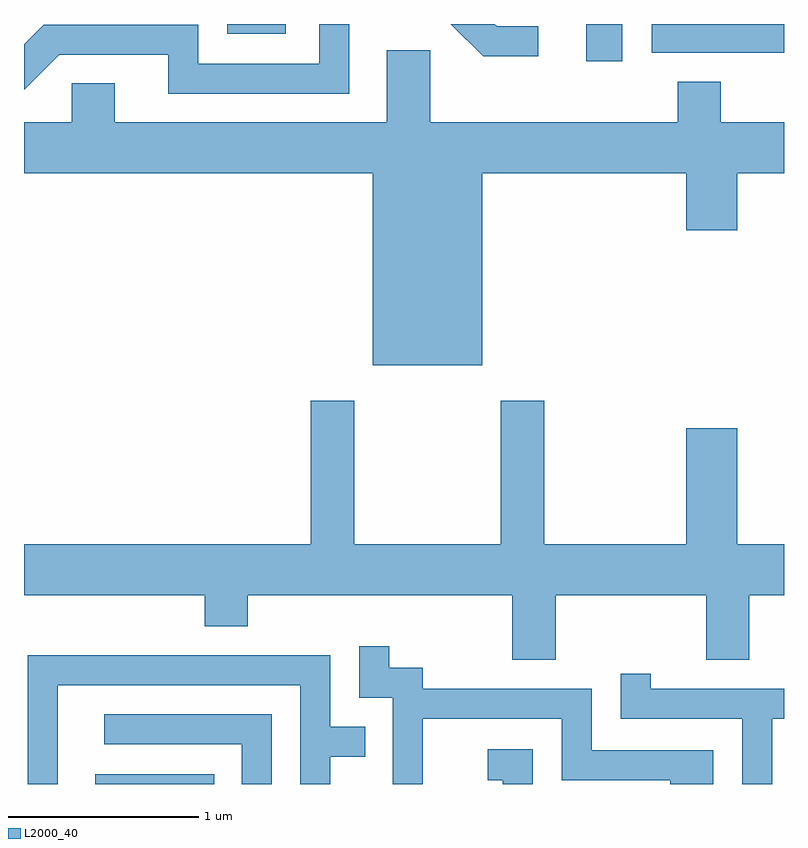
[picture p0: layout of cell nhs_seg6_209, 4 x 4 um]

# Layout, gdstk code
import gdstk
lib = gdstk.Library(unit=1e-6, precision=1e-09)
def R(c, l, rs):  # rectangles x0, y0, x1, y1
    for r in rs: c.add(gdstk.rectangle(r[:2], r[2:], *l))
def P(c, l, *ps):  # polygons
    for p in ps: c.add(gdstk.Polygon(p, *l))
L2000_40 = (2000, 40)

nhs_seg6_209 = lib.new_cell('nhs_seg6_209')
R(nhs_seg6_209, L2000_40, [(191.986,1540.162,192.613,1540.214), (194.571,1543.966,194.759,1544.162), (194.916,1544.011,195.611,1544.162), (192.681,1544.111,192.989,1544.162)])
P(nhs_seg6_209, L2000_40, [(194.318,1544.149),(194.102,1544.149),(194.089,1544.162),(193.858,1544.162),(194.029,1543.991),(194.318,1543.991)],
  [(193.324,1544.162),(193.166,1544.162),(193.166,1543.954),(192.529,1543.954),(192.529,1544.159),(191.714,1544.159),(191.611,1544.056),(191.611,1543.815),(191.797,1544.001),(192.371,1544.001),(192.371,1543.796),(193.324,1543.796)],
  [(194.024,1543.376),(195.096,1543.376),(195.096,1543.076),(195.364,1543.076),(195.364,1543.376),(195.611,1543.376),(195.611,1543.644),(195.279,1543.644),(195.279,1543.859),(195.051,1543.859),(195.051,1543.644),(193.749,1543.644),(193.749,1544.024),(193.521,1544.024),(193.521,1543.644),(192.089,1543.644),(192.089,1543.849),(191.861,1543.849),(191.861,1543.644),(191.611,1543.644),(191.611,1543.376),(193.446,1543.376),(193.446,1542.366),(194.024,1542.366)],
  [(194.409,1541.156),(195.201,1541.156),(195.201,1540.816),(195.429,1540.816),(195.429,1541.156),(195.611,1541.156),(195.611,1541.424),(195.364,1541.424),(195.364,1542.034),(195.096,1542.034),(195.096,1541.424),(194.349,1541.424),(194.349,1542.179),(194.121,1542.179),(194.121,1541.424),(193.349,1541.424),(193.349,1542.179),(193.121,1542.179),(193.121,1541.424),(191.611,1541.424),(191.611,1541.156),(192.561,1541.156),(192.561,1540.991),(192.789,1540.991),(192.789,1541.156),(194.181,1541.156),(194.181,1540.816),(194.409,1540.816)],
  [(193.709,1540.506),(194.441,1540.506),(194.441,1540.181),(195.011,1540.181),(195.011,1540.162),(195.239,1540.162),(195.239,1540.339),(194.599,1540.339),(194.599,1540.664),(193.709,1540.664),(193.709,1540.774),(193.534,1540.774),(193.534,1540.888),(193.376,1540.888),(193.376,1540.616),(193.551,1540.616),(193.551,1540.162),(193.709,1540.162)],
  [(191.789,1540.681),(193.066,1540.681),(193.066,1540.162),(193.224,1540.162),(193.224,1540.306),(193.408,1540.306),(193.408,1540.464),(193.224,1540.464),(193.224,1540.839),(191.631,1540.839),(191.631,1540.162),(191.789,1540.162)],
  [(195.549,1540.506),(195.611,1540.506),(195.611,1540.664),(194.909,1540.664),(194.909,1540.743),(194.751,1540.743),(194.751,1540.506),(195.391,1540.506),(195.391,1540.162),(195.549,1540.162)],
  [(192.914,1540.529),(192.033,1540.529),(192.033,1540.371),(192.756,1540.371),(192.756,1540.162),(192.914,1540.162)],
  [(194.289,1540.344),(194.053,1540.344),(194.053,1540.181),(194.131,1540.181),(194.131,1540.162),(194.289,1540.162)])

lib.write_gds('nhs_seg6_209.gds')
